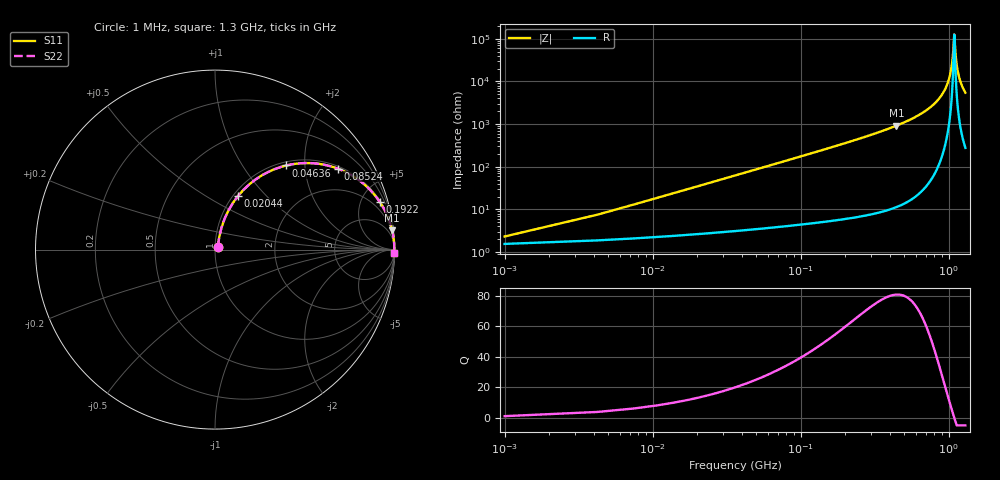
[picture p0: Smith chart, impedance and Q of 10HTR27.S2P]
! Coilcraft 1008HT-R27 Chip Inductor
! 16 July 2002
# MHZ S MA R 50
!Freq  MagS11  AngS11  MagS21  AngS21  MagS12  AngS12  MagS22  AngS22
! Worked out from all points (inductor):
!   402 points, 1 MHz to 1.3 GHz, reference 50 ohm
!   read as one part in series: L = 275 nH near 7.48 MHz
!   highest Q = 81 at 444.9 MHz (marker M1), where L = 330 nH
!   self-resonance near 1.093 GHz
!   S11 on the Smith chart (normalised r, x): 1 MHz: 1.03, +0.03; 20.44 MHz: 1.05, +0.71; 46.36 MHz: 1.07, +1.60; 85.24 MHz: 1.08, +2.96; 192.2 MHz: 1.12, +6.85; 1.3 GHz: open
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1  0.02292 46.9  0.9845 -1.0  0.9845 -1.0  0.02292 46.9
10.72  0.1796 72.8  0.9622 -10.3  0.9622 -10.3  0.1796 72.8
20.44  0.3263 66.7  0.9211 -19.0  0.9211 -19.0  0.3263 66.7
46.36  0.6137 49.8  0.7641 -37.8  0.7641 -37.8  0.6137 49.8
85.24  0.8184 33.5  0.5521 -54.9  0.5521 -54.9  0.8184 33.5
130.6  0.9093 23.4  0.3971 -65.4  0.3971 -65.4  0.9093 23.4
192.16  0.9556 16.2  0.2789 -72.8  0.2789 -72.8  0.9556 16.2
218.08  0.9654 14.2  0.246 -74.8  0.246 -74.8  0.9654 14.2
435.16  0.9924 6.4  0.1111 -82.9  0.1111 -82.9  0.9924 6.4
444.88  0.9928 6.2  0.1078 -83.1  0.1078 -83.1  0.9928 6.2
652.24  0.9975 3.3  0.05704 -85.9  0.05704 -85.9  0.9975 3.3
869.32  0.999 1.4  0.0245 -86.9  0.0245 -86.9  0.999 1.4
960.04  0.9992 0.8  0.01385 -86.1  0.01385 -86.1  0.9992 0.8
1021.6  0.9992 0.4  0.007261 -83.6  0.007261 -83.6  0.9992 0.4
1060.48  0.9992 0.2  0.003358 -76.5  0.003358 -76.5  0.9992 0.2
1073.44  0.9992 0.1  0.002131 -68.4  0.002131 -68.4  0.9992 0.1
1086.4  0.9992 0.0  0.001063 -42.1  0.001063 -42.1  0.9992 0.0
1096.12  0.9992 -0.0  0.0008247 16.0  0.0008247 16.0  0.9992 -0.0
1125.28  0.9992 -0.2  0.003111 74.8  0.003111 74.8  0.9992 -0.2
1167.4  0.9991 -0.4  0.006944 82.7  0.006944 82.7  0.9991 -0.4
1222.48  0.9991 -0.7  0.01182 85.1  0.01182 85.1  0.9991 -0.7
1300  0.9989 -1.1  0.01837 86.0  0.01837 86.0  0.9989 -1.1
